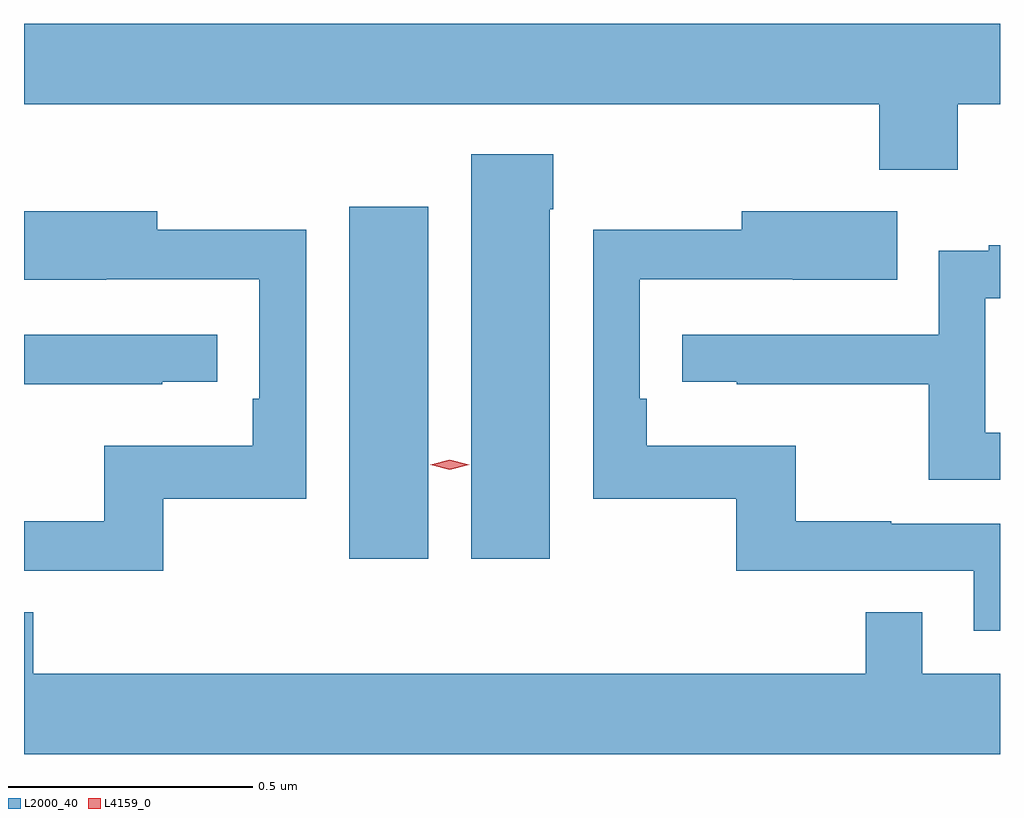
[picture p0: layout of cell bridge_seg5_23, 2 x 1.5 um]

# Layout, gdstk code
import gdstk
lib = gdstk.Library(unit=1e-6, precision=1e-09)
def R(c, l, rs):  # rectangles x0, y0, x1, y1
    for r in rs: c.add(gdstk.rectangle(r[:2], r[2:], *l))
def P(c, l, *ps):  # polygons
    for p in ps: c.add(gdstk.Polygon(p, *l))
L2000_40 = (2000, 40)
L4159_0 = (4159, 0)

bridge_seg5_23 = lib.new_cell('bridge_seg5_23')
R(bridge_seg5_23, L2000_40, [(1106.831,866.484,1106.992,867.205)])
P(bridge_seg5_23, L2000_40, [(1108.077,867.416),(1108.164,867.416),(1108.164,867.58),(1106.164,867.58),(1106.164,867.416),(1107.917,867.416),(1107.917,867.281),(1108.077,867.281)],
  [(1107.241,867.2),(1107.249,867.2),(1107.249,867.313),(1107.08,867.313),(1107.08,866.484),(1107.241,866.484)],
  [(1108.164,866.556),(1107.941,866.556),(1107.941,866.561),(1107.745,866.561),(1107.745,866.716),(1107.44,866.716),(1107.44,866.812),(1107.426,866.812),(1107.426,867.057),(1107.739,867.057),(1107.739,867.056),(1107.953,867.056),(1107.953,867.196),(1107.635,867.196),(1107.635,867.158),(1107.33,867.158),(1107.33,866.607),(1107.624,866.607),(1107.624,866.46),(1108.11,866.46),(1108.11,866.337),(1108.164,866.337)],
  [(1106.449,866.607),(1106.742,866.607),(1106.742,867.158),(1106.437,867.158),(1106.437,867.196),(1106.164,867.196),(1106.164,867.056),(1106.333,867.056),(1106.333,867.057),(1106.646,867.057),(1106.646,866.812),(1106.633,866.812),(1106.633,866.716),(1106.328,866.716),(1106.328,866.561),(1106.164,866.561),(1106.164,866.46),(1106.449,866.46)],
  [(1108.164,866.742),(1108.134,866.742),(1108.134,867.018),(1108.164,867.018),(1108.164,867.127),(1108.141,867.127),(1108.141,867.115),(1108.038,867.115),(1108.038,866.943),(1107.513,866.943),(1107.513,866.847),(1107.625,866.847),(1107.625,866.842),(1108.018,866.842),(1108.018,866.646),(1108.164,866.646)],
  [(1106.447,866.847),(1106.56,866.847),(1106.56,866.943),(1106.164,866.943),(1106.164,866.842),(1106.447,866.842)],
  [(1108.164,866.248),(1108.005,866.248),(1108.005,866.375),(1107.889,866.375),(1107.889,866.248),(1106.183,866.248),(1106.183,866.375),(1106.164,866.375),(1106.164,866.084),(1108.164,866.084)])
P(bridge_seg5_23, L4159_0, [(1107.036,866.667),(1106.996,866.677),(1106.996,866.677),(1106.996,866.677),(1107.036,866.687),(1107.076,866.677),(1107.076,866.677),(1107.076,866.677)])

lib.write_gds('bridge_seg5_23.gds')
